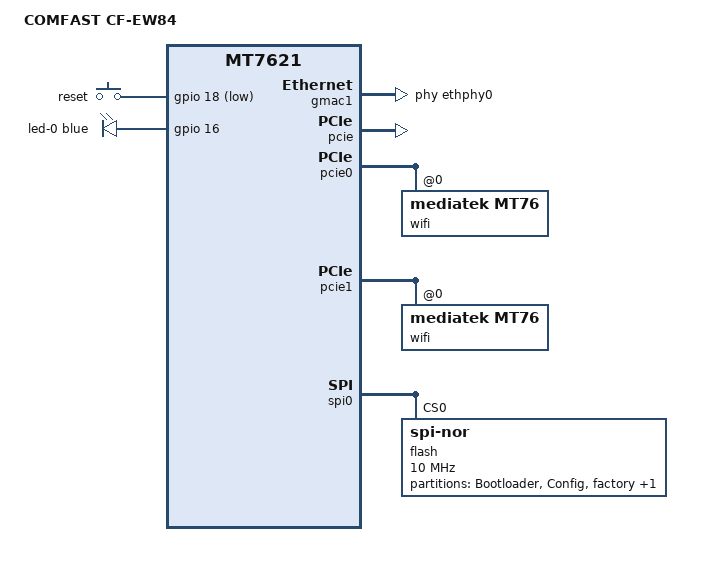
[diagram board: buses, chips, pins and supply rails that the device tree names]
// SPDX-License-Identifier: GPL-2.0-or-later OR MIT

#include "mt7621.dtsi"

#include <dt-bindings/leds/common.h>
#include <dt-bindings/gpio/gpio.h>
#include <dt-bindings/input/input.h>

/ {
	compatible = "comfast,cf-ew84", "mediatek,mt7621-soc";
	model = "COMFAST CF-EW84";

	chosen {
		bootargs = "console=ttyS0,115200";
	};

	aliases {
		label-mac-device = &gmac0;
	};

	keys {
		compatible = "gpio-keys";

		reset {
			label = "reset";
			linux,code = <KEY_RESTART>;
			gpios = <&gpio 18 GPIO_ACTIVE_LOW>;
		};
	};

	leds {
		compatible = "gpio-leds";

		led-0 {
			color = <LED_COLOR_ID_BLUE>;
			function = LED_FUNCTION_WLAN;
			gpios = <&gpio 16 GPIO_ACTIVE_HIGH>;
			linux,default-trigger = "network";
		};
	};
};

&ethphy0 {
	/delete-property/ interrupts;
};

&gmac0 {
	nvmem-cells = <&macaddr_factory_e000 0>;
	nvmem-cell-names = "mac-address";
};

&gmac1 {
	status = "okay";
	label = "wan";
	phy-handle = <&ethphy0>;
	nvmem-cells = <&macaddr_factory_e000 1>;
	nvmem-cell-names = "mac-address";
};

&pcie {
	status = "okay";
};

// pcie0 → mt7603e (2.4GHz)
&pcie0 {
	wifi@0,0 {
		compatible = "mediatek,mt76";
		reg = <0x0000 0 0 0 0>;
		ieee80211-freq-limit = <2400000 2500000>;
		nvmem-cells = <&eeprom_factory_0>;
		nvmem-cell-names = "eeprom";
	};
};

// pcie1 → mt7663 (5GHz)
&pcie1 {
	wifi@0,0 {
		compatible = "mediatek,mt76";
		reg = <0x0000 0 0 0 0>;
		ieee80211-freq-limit = <5000000 6000000>;
		nvmem-cells = <&eeprom_factory_8000>;
		nvmem-cell-names = "eeprom";
	};
};

&pinctrl {
	pinctrl0 {
		gpio {
			groups = "i2c", "uart2", "uart3", "sdhci", "jtag";
			function = "gpio";
		};
	};
};

&spi0 {
	status = "okay";

	flash@0 {
		compatible = "jedec,spi-nor";
		reg = <0>;
		spi-max-frequency = <10000000>;

		partitions {
			compatible = "fixed-partitions";
			#address-cells = <1>;
			#size-cells = <1>;

			partition@0 {
				label = "Bootloader";
				reg = <0x000000 0x030000>;
				read-only;
			};

			partition@30000 {
				label = "Config";
				reg = <0x030000 0x010000>;
			};

			partition@40000 {
				label = "factory";
				reg = <0x040000 0x010000>;
				read-only;
				nvmem-layout {
					compatible = "fixed-layout";
					#address-cells = <1>;
					#size-cells = <1>;

					eeprom_factory_0: eeprom@0 {
						reg = <0x0 0x400>;
					};

					eeprom_factory_8000: eeprom@8000 {
						reg = <0x8000 0x4da8>;
					};

					macaddr_factory_e000: macaddr@e000 {
						compatible = "mac-base";
						reg = <0xe000 0x6>;
						#nvmem-cell-cells = <1>;
					};
				};
			};

			partition@50000 {
				compatible = "denx,uimage";
				label = "firmware";
				reg = <0x050000 0xfb0000>;
			};
		};
	};
};

&switch0 {
	ports {
		port@1 {
			status = "okay";
		};

		port@2 {
			status = "okay";
		};
	};
};
